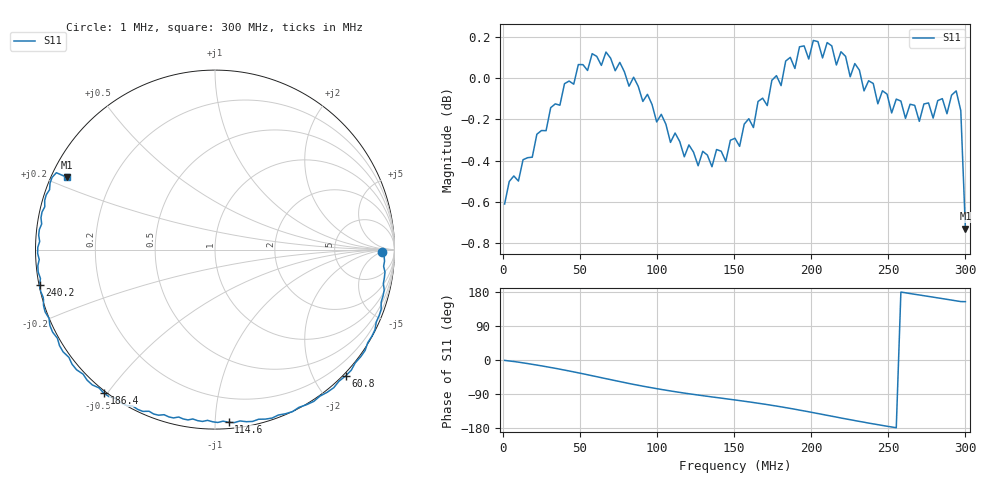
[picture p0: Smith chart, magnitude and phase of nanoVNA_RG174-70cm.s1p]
! File created by NanoVNA (https://gen111.taobao.com/)
! Start 1000000Hz  Stop 300000000Hz  Points 101
# HZ S MA R 50
!S - Parameter data, F S11
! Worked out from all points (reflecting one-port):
!   101 points, 1 MHz to 300 MHz, reference 50 ohm
!   lowest |S11| = -0.7 dB at 300 MHz (marker M1), VSWR 23.76, Z = 2.22 + j11.5 ohm
!   phase of S11 starts at -1 deg and turns -205 deg over the sweep
!   S11 on the Smith chart (normalised r, x): 1 MHz: 27, -7; 60.8 MHz: -0.04, -2.47; 114.6 MHz: 0.04, -1.08; 186.4 MHz: -0.01, -0.49; 240.2 MHz: 0.00, -0.10; 300 MHz: 0.04, +0.23
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1000000  0.932 -1.0
9970000  0.9441 -5.7
2.193e7  0.9692 -13.4
3.09e7  0.9837 -19.8
3.987e7  0.997 -26.6
4.884e7  1.008 -33.9
6.08e7  1.012 -44.1
7.575e7  1.009 -56.9
8.472e7  1.001 -64.4
9.369e7  0.991 -71.3
1.0266e8  0.98 -77.7
1.1462e8  0.9652 -85.5
1.505e8  0.967 -105.4
1.6545e8  0.9871 -114.1
1.7442e8  0.9989 -119.7
1.8638e8  1.012 -127.8
1.8937e8  1.005 -129.9
1.9535e8  1.018 -134.4
2.103e8  1.02 -146.0
2.1927e8  1.015 -153.1
2.2525e8  1.001 -157.5
2.2824e8  1.008 -159.9
2.402e8  0.9971 -168.5
2.6412e8  0.9856 175.3
2.7608e8  0.9863 167.8
2.9402e8  0.9929 156.1
2.9701e8  0.9821 154.1
3e8  0.9192 154.0
